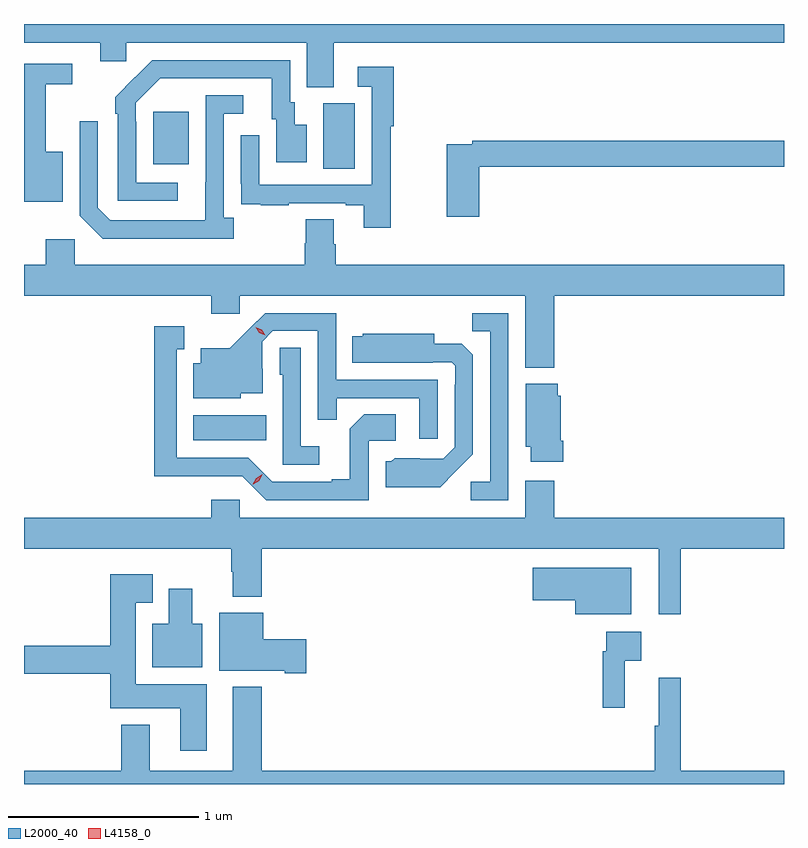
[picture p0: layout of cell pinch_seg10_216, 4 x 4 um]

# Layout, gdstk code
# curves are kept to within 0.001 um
import gdstk
lib = gdstk.Library(unit=1e-6, precision=1e-09)
def R(c, l, rs):  # rectangles x0, y0, x1, y1
    for r in rs: c.add(gdstk.rectangle(r[:2], r[2:], *l))
def P(c, l, *ps):  # polygons
    for p in ps: c.add(gdstk.Polygon(p, *l))
L2000_40 = (2000, 40)
L4158_0 = (4158, 0)

pinch_seg10_216 = lib.new_cell('pinch_seg10_216')
R(pinch_seg10_216, L2000_40, [(627.548,1304.882,627.932,1305.016), (628.232,1306.312,628.396,1306.656), (627.335,1306.337,627.523,1306.612)])
P(pinch_seg10_216, L2000_40, [(628.285,1306.976),(630.656,1306.976),(630.656,1307.074),(626.656,1307.074),(626.656,1306.976),(627.056,1306.976),(627.056,1306.878),(627.195,1306.878),(627.195,1306.976),(628.145,1306.976),(628.145,1306.741),(628.285,1306.741)],
  [(627.466,1306.239),(627.246,1306.239),(627.246,1306.559),(627.243,1306.559),(627.243,1306.659),(627.372,1306.788),(627.959,1306.788),(627.959,1306.572),(627.983,1306.572),(627.983,1306.347),(628.144,1306.347),(628.144,1306.543),(628.081,1306.543),(628.081,1306.662),(628.056,1306.662),(628.056,1306.884),(627.332,1306.884),(627.135,1306.689),(627.135,1306.601),(627.15,1306.601),(627.15,1306.143),(627.466,1306.143)],
  [(626.86,1306.402),(626.771,1306.402),(626.771,1306.758),(626.911,1306.758),(626.911,1306.866),(626.656,1306.866),(626.656,1306.138),(626.86,1306.138)],
  [(628.586,1306.536),(628.601,1306.536),(628.601,1306.849),(628.413,1306.849),(628.413,1306.743),(628.485,1306.743),(628.485,1306.227),(627.894,1306.227),(627.894,1306.489),(627.798,1306.489),(627.798,1306.234),(627.799,1306.234),(627.799,1306.125),(627.901,1306.125),(627.901,1306.119),(628.049,1306.119),(628.049,1306.131),(628.349,1306.131),(628.349,1306.119),(628.445,1306.119),(628.445,1306.002),(628.586,1306.002)],
  [(627.76,1306.054),(627.708,1306.054),(627.708,1306.602),(627.811,1306.602),(627.811,1306.698),(627.612,1306.698),(627.611,1306.041),(627.111,1306.041),(627.045,1306.107),(627.045,1306.561),(626.949,1306.561),(626.949,1306.065),(627.07,1305.944),(627.76,1305.944)],
  [(629.051,1306.324),(630.656,1306.324),(630.656,1306.46),(629.014,1306.46),(629.014,1306.44),(628.88,1306.44),(628.88,1306.059),(629.051,1306.059)],
  [(629.447,1305.644),(630.656,1305.644),(630.656,1305.808),(628.298,1305.808),(628.298,1305.914),(628.285,1305.914),(628.285,1306.046),(628.138,1306.046),(628.138,1305.921),(628.133,1305.921),(628.133,1305.808),(626.922,1305.808),(626.922,1305.94),(626.771,1305.94),(626.771,1305.808),(626.656,1305.808),(626.656,1305.644),(627.641,1305.644),(627.641,1305.549),(627.792,1305.549),(627.792,1305.644),(629.294,1305.644),(629.294,1305.266),(629.447,1305.266)],
  [(629.205,1305.552),(629.014,1305.552),(629.014,1305.457),(629.109,1305.457),(629.109,1304.664),(629.007,1304.664),(629.007,1304.568),(629.205,1304.568)],
  [(628.833,1305.201),(628.299,1305.201),(628.299,1305.552),(627.926,1305.552),(627.739,1305.367),(627.587,1305.367),(627.587,1305.289),(627.548,1305.289),(627.548,1305.104),(627.798,1305.104),(627.798,1305.131),(627.913,1305.131),(627.913,1305.26),(627.909,1305.26),(627.909,1305.402),(627.966,1305.459),(628.203,1305.459),(628.203,1304.992),(628.301,1304.992),(628.301,1305.105),(628.737,1305.105),(628.737,1304.892),(628.833,1304.892)],
  [(628.47,1304.88),(628.612,1304.88),(628.612,1305.02),(628.447,1305.02),(628.371,1304.944),(628.371,1304.677),(628.277,1304.677),(628.277,1304.664),(627.963,1304.664),(627.837,1304.79),(627.46,1304.79),(627.46,1305.363),(627.499,1305.363),(627.499,1305.484),(627.342,1305.484),(627.342,1304.693),(627.804,1304.694),(627.93,1304.568),(628.47,1304.568)],
  [(628.927,1304.717),(629.019,1304.81),(629.019,1305.332),(628.96,1305.391),(628.816,1305.391),(628.816,1305.445),(628.44,1305.445),(628.44,1305.43),(628.384,1305.43),(628.384,1305.29),(628.808,1305.29),(628.808,1305.294),(628.908,1305.294),(628.926,1305.276),(628.926,1305.176),(628.923,1305.176),(628.923,1304.847),(628.863,1304.787),(628.606,1304.788),(628.59,1304.772),(628.559,1304.772),(628.559,1304.636),(628.847,1304.636)],
  [(628.21,1304.851),(628.113,1304.851),(628.113,1305.371),(628.002,1305.371),(628.002,1305.228),(628.017,1305.228),(628.017,1304.754),(628.21,1304.754)],
  [(629.495,1304.881),(629.482,1304.881),(629.482,1305.117),(629.464,1305.117),(629.464,1305.181),(629.297,1305.181),(629.297,1304.85),(629.324,1304.85),(629.324,1304.769),(629.495,1304.769)],
  [(630.113,1304.312),(630.656,1304.312),(630.656,1304.476),(629.447,1304.476),(629.447,1304.671),(629.294,1304.671),(629.294,1304.476),(627.792,1304.476),(627.792,1304.569),(627.641,1304.569),(627.641,1304.476),(626.656,1304.476),(626.656,1304.312),(627.748,1304.312),(627.748,1304.192),(627.755,1304.192),(627.755,1304.06),(627.908,1304.06),(627.908,1304.312),(629.996,1304.312),(629.996,1303.968),(630.113,1303.968)],
  [(629.851,1304.212),(629.334,1304.212),(629.334,1304.042),(629.558,1304.042),(629.558,1303.967),(629.851,1303.967)],
  [(627.619,1303.6),(627.244,1303.6),(627.244,1304.027),(627.334,1304.027),(627.334,1304.179),(627.11,1304.179),(627.11,1303.802),(626.656,1303.802),(626.656,1303.655),(627.11,1303.655),(627.11,1303.472),(627.479,1303.472),(627.479,1303.248),(627.619,1303.248)],
  [(627.595,1303.918),(627.541,1303.918),(627.541,1304.101),(627.419,1304.101),(627.419,1303.918),(627.332,1303.918),(627.332,1303.688),(627.595,1303.688)],
  [(628.141,1303.836),(627.916,1303.836),(627.916,1303.975),(627.683,1303.975),(627.683,1303.67),(628.028,1303.67),(628.028,1303.658),(628.141,1303.658)],
  [(629.819,1303.724),(629.905,1303.724),(629.905,1303.876),(629.721,1303.876),(629.721,1303.772),(629.701,1303.772),(629.701,1303.476),(629.819,1303.476)],
  [(630.656,1303.144),(630.113,1303.144),(630.113,1303.633),(629.996,1303.633),(629.996,1303.38),(629.977,1303.38),(629.977,1303.144),(627.908,1303.144),(627.908,1303.585),(627.755,1303.585),(627.755,1303.144),(627.319,1303.144),(627.319,1303.387),(627.167,1303.387),(627.167,1303.144),(626.656,1303.144),(626.656,1303.074),(630.656,1303.074)])
P(pinch_seg10_216, L4158_0, [(627.925,1305.435),(627.894,1305.45),(627.877,1305.479),(627.877,1305.479),(627.877,1305.479),(627.908,1305.464),(627.926,1305.435),(627.926,1305.435)],
  [(627.861,1304.652),(627.861,1304.652),(627.878,1304.684),(627.91,1304.703),(627.91,1304.703),(627.91,1304.703),(627.893,1304.671),(627.862,1304.652)])

lib.write_gds('pinch_seg10_216.gds')
